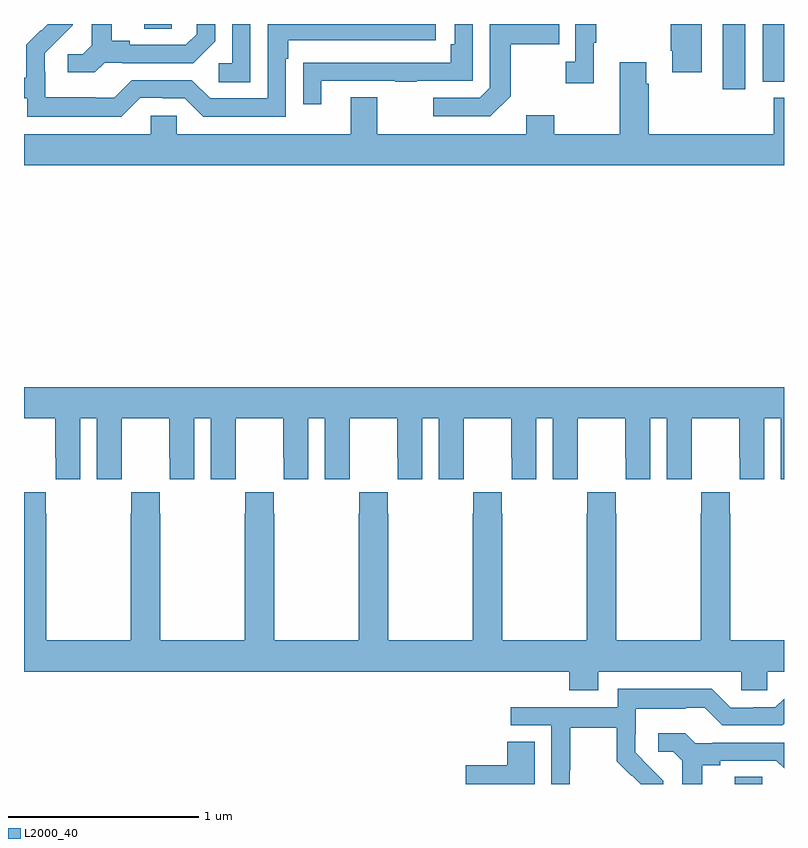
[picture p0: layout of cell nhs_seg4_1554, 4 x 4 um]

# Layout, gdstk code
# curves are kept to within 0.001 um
import gdstk
lib = gdstk.Library(unit=1e-6, precision=1e-09)
def R(c, l, rs):  # rectangles x0, y0, x1, y1
    for r in rs: c.add(gdstk.rectangle(r[:2], r[2:], *l))
def P(c, l, *ps):  # polygons
    for p in ps: c.add(gdstk.Polygon(p, *l))
L2000_40 = (2000, 40)

nhs_seg4_1554 = lib.new_cell('nhs_seg4_1554')
R(nhs_seg4_1554, L2000_40, [(194.741,790.9,194.886,790.937), (194.678,794.556,194.797,794.9), (194.888,794.597,195,794.9), (191.633,794.875,191.778,794.9)])
P(nhs_seg4_1554, L2000_40, [(193.999,794.801),(194.011,794.801),(194.011,794.9),(193.902,794.9),(193.902,794.702),(193.851,794.702),(193.851,794.589),(193.999,794.589)],
  [(193.561,794.521),(193.561,794.794),(193.817,794.794),(193.817,794.9),(193.452,794.9),(193.452,794.565),(193.398,794.511),(193.155,794.511),(193.155,794.415),(193.455,794.415)],
  [(192.565,794.601),(192.955,794.601),(192.955,794.596),(193.067,794.596),(193.067,794.601),(193.362,794.601),(193.362,794.9),(193.266,794.9),(193.266,794.794),(193.246,794.794),(193.246,794.697),(192.571,794.697),(192.571,794.696),(192.469,794.696),(192.469,794.478),(192.565,794.478)],
  [(194.566,794.9),(194.404,794.9),(194.404,794.758),(194.411,794.758),(194.411,794.646),(194.566,794.646)],
  [(191.424,794.697),(191.518,794.697),(191.518,794.694),(191.89,794.694),(192.006,794.81),(192.006,794.9),(191.909,794.9),(191.909,794.847),(191.852,794.79),(191.557,794.79),(191.557,794.813),(191.461,794.813),(191.461,794.9),(191.357,794.9),(191.357,794.789),(191.31,794.742),(191.229,794.742),(191.229,794.645),(191.372,794.645)],
  [(192.192,794.9),(192.096,794.9),(192.096,794.694),(192.024,794.694),(192.024,794.593),(192.192,794.593)],
  [(191.613,794.511),(191.729,794.511),(191.729,794.508),(191.847,794.508),(191.943,794.412),(192.378,794.412),(192.378,794.717),(192.391,794.717),(192.391,794.814),(193.168,794.814),(193.168,794.9),(192.282,794.9),(192.282,794.508),(191.979,794.508),(191.883,794.604),(191.568,794.604),(191.475,794.511),(191.375,794.511),(191.375,794.515),(191.112,794.515),(191.112,794.649),(191.11,794.649),(191.11,794.746),(191.256,794.894),(191.256,794.9),(191.126,794.9),(191.091,794.865),(191.088,794.868),(191.011,794.791),(191.011,794.617),(191,794.617),(191,794.508),(191.016,794.508),(191.016,794.411),(191.513,794.411)],
  [(195,794.512),(194.945,794.512),(194.945,794.32),(194.288,794.32),(194.288,794.585),(194.275,794.585),(194.275,794.698),(194.135,794.698),(194.135,794.32),(193.791,794.32),(193.791,794.419),(193.643,794.419),(193.643,794.32),(192.859,794.32),(192.859,794.515),(192.719,794.515),(192.719,794.32),(191.805,794.32),(191.805,794.418),(191.667,794.418),(191.667,794.32),(191,794.32),(191,794.156),(195,794.156)],
  [(191.296,792.824),(191.384,792.824),(191.384,792.504),(191.514,792.504),(191.514,792.616),(191.515,792.616),(191.515,792.824),(191.765,792.824),(191.765,792.616),(191.766,792.616),(191.766,792.504),(191.896,792.504),(191.896,792.824),(191.984,792.824),(191.984,792.504),(192.114,792.504),(192.114,792.616),(192.115,792.616),(192.115,792.824),(192.365,792.824),(192.365,792.616),(192.366,792.616),(192.366,792.504),(192.496,792.504),(192.496,792.824),(192.584,792.824),(192.584,792.504),(192.714,792.504),(192.714,792.616),(192.715,792.616),(192.715,792.824),(192.965,792.824),(192.965,792.616),(192.966,792.616),(192.966,792.504),(193.096,792.504),(193.096,792.824),(193.184,792.824),(193.184,792.504),(193.314,792.504),(193.314,792.616),(193.315,792.616),(193.315,792.824),(193.565,792.824),(193.565,792.616),(193.566,792.616),(193.566,792.504),(193.696,792.504),(193.696,792.824),(193.784,792.824),(193.784,792.504),(193.914,792.504),(193.914,792.616),(193.915,792.616),(193.915,792.824),(194.165,792.824),(194.165,792.616),(194.166,792.616),(194.166,792.504),(194.296,792.504),(194.296,792.824),(194.384,792.824),(194.384,792.504),(194.514,792.504),(194.514,792.616),(194.515,792.616),(194.515,792.824),(194.765,792.824),(194.765,792.616),(194.766,792.616),(194.766,792.504),(194.896,792.504),(194.896,792.824),(194.984,792.824),(194.984,792.504),(195,792.504),(195,792.988),(191,792.988),(191,792.824),(191.165,792.824),(191.165,792.616),(191.166,792.616),(191.166,792.504),(191.296,792.504)],
  [(193.871,791.393),(194.023,791.393),(194.023,791.492),(194.775,791.492),(194.775,791.394),(194.913,791.394),(194.913,791.492),(195,791.492),(195,791.656),(194.718,791.656),(194.718,792.323),(194.715,792.323),(194.715,792.436),(194.565,792.436),(194.565,792.323),(194.563,792.323),(194.563,791.656),(194.118,791.656),(194.118,792.323),(194.115,792.323),(194.115,792.436),(193.965,792.436),(193.965,792.323),(193.963,792.323),(193.963,791.656),(193.518,791.656),(193.518,792.323),(193.515,792.323),(193.515,792.436),(193.365,792.436),(193.365,792.323),(193.363,792.323),(193.363,791.656),(192.918,791.656),(192.918,792.323),(192.915,792.323),(192.915,792.436),(192.765,792.436),(192.765,792.323),(192.763,792.323),(192.763,791.656),(192.318,791.656),(192.318,792.323),(192.315,792.323),(192.315,792.436),(192.165,792.436),(192.165,792.323),(192.163,792.323),(192.163,791.656),(191.718,791.656),(191.718,792.323),(191.715,792.323),(191.715,792.436),(191.565,792.436),(191.565,792.323),(191.563,792.323),(191.563,791.656),(191.118,791.656),(191.118,792.323),(191.115,792.323),(191.115,792.436),(191,792.436),(191,791.492),(193.871,791.492)],
  [(193.872,790.972),(193.875,790.972),(193.875,791.196),(194.119,791.196),(194.119,791.021),(194.196,790.944),(194.199,790.947),(194.247,790.9),(194.364,790.9),(194.364,790.918),(194.218,791.066),(194.218,791.163),(194.22,791.163),(194.22,791.297),(194.483,791.297),(194.483,791.301),(194.583,791.301),(194.676,791.208),(194.991,791.208),(195,791.217),(195,791.349),(194.955,791.304),(194.837,791.304),(194.837,791.301),(194.721,791.301),(194.621,791.401),(194.124,791.401),(194.124,791.304),(193.563,791.304),(193.563,791.208),(193.776,791.208),(193.776,790.9),(193.872,790.9)],
  [(194.569,791),(194.665,791),(194.665,791.022),(194.96,791.022),(195,790.982),(195,791.116),(194.998,791.118),(194.626,791.118),(194.626,791.115),(194.532,791.115),(194.48,791.167),(194.337,791.167),(194.337,791.07),(194.418,791.07),(194.465,791.023),(194.465,790.9),(194.569,790.9)],
  [(193.687,791.123),(193.544,791.123),(193.544,791),(193.326,791),(193.326,790.9),(193.687,790.9)])

lib.write_gds('nhs_seg4_1554.gds')
